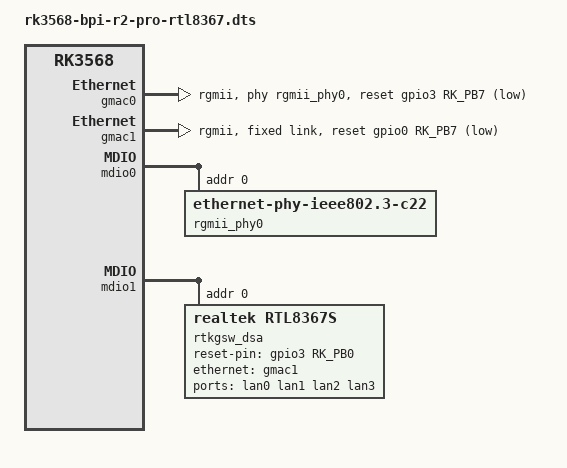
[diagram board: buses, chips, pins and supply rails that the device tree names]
// SPDX-License-Identifier: (GPL-2.0+ OR MIT)
/*
 * Author: Frank Wunderlich <frank-w@public-files.de>
 *
 */

/dts-v1/;
#include "rk3568-bpi-r2-pro.dts"

/ {
	rtkgsw_red: rtkgsw_red@0 {
		compatible = "realtek,rtk-gsw"; //reduced phy driver
		realtek,mdio = <&mdio1>;
		realtek,reset-pin = <&gpio3 RK_PB0 GPIO_ACTIVE_HIGH>;
		realtek,extifconfig = "rgmii,rgmii"; //own property to setup rgmii instead of sgmii
		status = "disabled";
	};
};

&gmac0 {
	assigned-clocks = <&cru SCLK_GMAC0_RX_TX>, <&cru SCLK_GMAC0>;
	assigned-clock-parents = <&cru SCLK_GMAC0_RGMII_SPEED>, <&cru CLK_MAC0_2TOP>;
	clock_in_out = "input";
	phy-handle = <&rgmii_phy0>;
	phy-mode = "rgmii";
	pinctrl-names = "default";
	pinctrl-0 = <&gmac0_miim
		     &gmac0_tx_bus2
		     &gmac0_rx_bus2
		     &gmac0_rgmii_clk
		     &gmac0_rgmii_bus>;
	snps,reset-gpio = <&gpio3 RK_PB7 GPIO_ACTIVE_LOW>;
	snps,reset-active-low;
	/* Reset time is 20ms, 100ms for rtl8211f */
	snps,reset-delays-us = <0 20000 100000>;
	tx_delay = <0x3c>;
	rx_delay = <0x2f>;
	status = "okay";
	/delete-node/ fixed-link;
};

&gmac1 {
	/delete-property/ phy-handle;
	assigned-clocks = <&cru SCLK_GMAC1_RX_TX>, <&cru SCLK_GMAC1>;
	assigned-clock-parents = <&cru SCLK_GMAC1_RGMII_SPEED>, <&cru CLK_MAC1_2TOP>;
	clock_in_out = "output";
	phy-mode = "rgmii";
	pinctrl-names = "default";
	pinctrl-0 = <&gmac1m1_miim
		     &gmac1m1_tx_bus2
		     &gmac1m1_rx_bus2
		     &gmac1m1_rgmii_clk
		     &gmac1m1_rgmii_bus>;

	snps,reset-gpio = <&gpio0 RK_PB7 GPIO_ACTIVE_LOW>;
	snps,reset-active-low;
	/* Reset time is 20ms, 100ms for rtl8211f */
	snps,reset-delays-us = <0 20000 100000>;

	tx_delay = <0x4f>;
	rx_delay = <0x26>;

	status = "okay";

	fixed-link {
		speed = <1000>;
		full-duplex;
		pause;
	};
};

&mdio0 {
	rgmii_phy0: ethernet-phy@0 {
		compatible = "ethernet-phy-ieee802.3-c22";
		reg = <0x0>;
	};
};

/delete-node/ &rgmii_phy1;

&mdio1 {
	//ethernet-phy@0 needs to be deleted
	rtkgsw_dsa: switch1 {
		compatible = "realtek,rtl8367s";
		realtek,reset-pin = <&gpio3 RK_PB0 GPIO_ACTIVE_HIGH>;
		reg = <0>;
		status = "disabled";

		ports {
			#address-cells = <1>;
			#size-cells = <0>;

			port@0 {
				reg = <0>;
				label = "lan0";
			};

			port@1 {
				reg = <1>;
				label = "lan1";
			};

			port@2 {
				reg = <2>;
				label = "lan2";
			};

			port@3 {
				reg = <3>;
				label = "lan3";
			};

			port@6 {
				reg = <6>;
				ethernet = <&gmac1>;
				phy-mode = "rgmii";
				realtek,ext-int = <1>;

				tx-internal-delay-ps = <0>;
				rx-internal-delay-ps = <0>;

				fixed-link {
					speed = <1000>;
					full-duplex;
					pause;
				};
			};
		};
	};
};

&pmu_io_domains {
	pmuio1-supply = <&vcc3v3_pmu>;
	pmuio2-supply = <&vcc3v3_pmu>;
	vccio1-supply = <&vccio_acodec>;
	vccio3-supply = <&vccio_sd>;
	vccio4-supply = <&vcc_1v8>;
	vccio5-supply = <&vcc_3v3>;
	vccio6-supply = <&vcc_3v3>;
	vccio7-supply = <&vcc_3v3>;
	status = "okay";
};

&rtkgsw_dsa {
	status = "okay";
};

&rtkgsw_red {
	//status = "okay";
};

